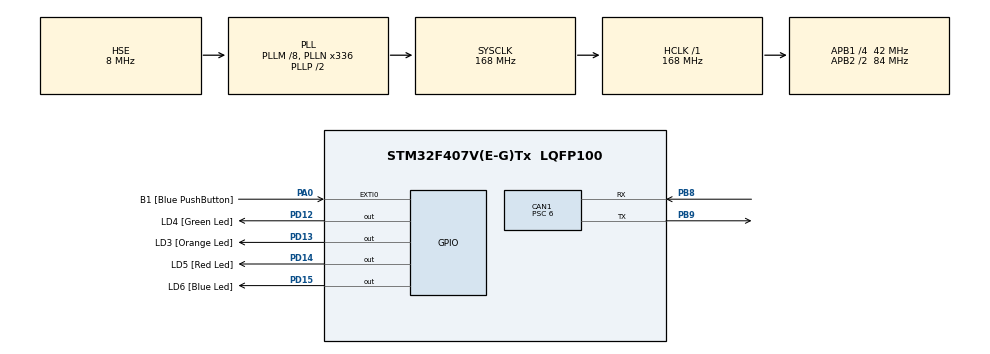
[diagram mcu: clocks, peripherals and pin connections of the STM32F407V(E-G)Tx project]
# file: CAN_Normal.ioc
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CAN1.ABOM=ENABLE
CAN1.BS1=CAN_BS1_11TQ
CAN1.BS2=CAN_BS2_2TQ
CAN1.CalculateBaudRate=500000
CAN1.CalculateTimeBit=2000
CAN1.CalculateTimeQuantum=142.85714285714286
CAN1.Mode=CAN_MODE_NORMAL
CAN1.NART=ENABLE
CAN1.Prescaler=6
Mcu.Family=STM32F4
Mcu.Name=STM32F407V(E-G)Tx
Mcu.Package=LQFP100
NVIC.CAN1_RX0_IRQn=true\:0\:0\:false\:false\:true\:true\:true\:true
NVIC.PriorityGroup=NVIC_PRIORITYGROUP_0
PA0-WKUP.GPIO_Label=B1 [Blue PushButton]
PA0-WKUP.GPIO_ModeDefaultEXTI=GPIO_MODE_EVT_RISING
PA0-WKUP.GPIO_PuPd=GPIO_NOPULL
PA0-WKUP.Signal=GPXTI0
PA13.GPIO_Label=SWDIO
PA13.Mode=Trace_Asynchronous_SW
PA13.Signal=SYS_JTMS-SWDIO
PA14.GPIO_Label=SWCLK
PA14.Mode=Trace_Asynchronous_SW
PA14.Signal=SYS_JTCK-SWCLK
PB3.GPIO_Label=SWO
PB3.Mode=Trace_Asynchronous_SW
PB3.Signal=SYS_JTDO-SWO
PB8.GPIO_PuPd=GPIO_NOPULL
PB8.Mode=CAN_Activate
PB8.Signal=CAN1_RX
PB9.Mode=CAN_Activate
PB9.Signal=CAN1_TX
PD12.GPIO_Label=LD4 [Green Led]
PD12.GPIO_PuPd=GPIO_NOPULL
PD12.GPIO_Speed=GPIO_SPEED_FREQ_LOW
PD12.Signal=GPIO_Output
PD13.GPIO_Label=LD3 [Orange Led]
PD13.GPIO_PuPd=GPIO_NOPULL
PD13.GPIO_Speed=GPIO_SPEED_FREQ_LOW
PD13.Signal=GPIO_Output
PD14.GPIO_Label=LD5 [Red Led]
PD14.GPIO_PuPd=GPIO_NOPULL
PD14.GPIO_Speed=GPIO_SPEED_FREQ_LOW
PD14.Signal=GPIO_Output
PD15.GPIO_Label=LD6 [Blue Led]
PD15.GPIO_PuPd=GPIO_NOPULL
PD15.GPIO_Speed=GPIO_SPEED_FREQ_LOW
PD15.Signal=GPIO_Output
PH0-OSC_IN.GPIO_Label=PH0-OSC_IN
PH0-OSC_IN.Mode=HSE-External-Oscillator
PH0-OSC_IN.Signal=RCC_OSC_IN
PH1-OSC_OUT.GPIO_Label=PH1-OSC_OUT
PH1-OSC_OUT.Mode=HSE-External-Oscillator
PH1-OSC_OUT.Signal=RCC_OSC_OUT
ProjectManager.HeapSize=0x200
ProjectManager.StackSize=0x400
ProjectManager.TargetToolchain=STM32CubeIDE
RCC.48MHZClocksFreq_Value=48000000
RCC.AHBFreq_Value=168000000
RCC.APB1CLKDivider=RCC_HCLK_DIV4
RCC.APB1Freq_Value=42000000
RCC.APB1TimFreq_Value=84000000
RCC.APB2CLKDivider=RCC_HCLK_DIV2
RCC.APB2Freq_Value=84000000
RCC.APB2TimFreq_Value=168000000
RCC.CortexFreq_Value=168000000
RCC.HCLKFreq_Value=168000000
RCC.HSE_VALUE=8000000
RCC.HSI_VALUE=16000000
RCC.LSE_VALUE=32768
RCC.PLLM=8
RCC.PLLN=336
RCC.PLLQ=7
RCC.PLLSourceVirtual=RCC_PLLSOURCE_HSE
RCC.SYSCLKFreq_VALUE=168000000
RCC.SYSCLKSource=RCC_SYSCLKSOURCE_PLLCLK
RCC.VCOOutputFreq_Value=336000000
board=STM32F407G-DISC1

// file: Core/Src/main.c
/* USER CODE BEGIN Header */
/**
  ******************************************************************************
  * @file           : main.c
  * @brief          : Main program body
  ******************************************************************************
  * @attention
  *
  * Copyright (c) 2023 STMicroelectronics.
  * All rights reserved.
  *
  * This software is licensed under terms that can be found in the LICENSE file
  * in the root directory of this software component.
  * If no LICENSE file comes with this software, it is provided AS-IS.
  *
  ******************************************************************************
  */
/* USER CODE END Header */
#include "main.h"

/* USER CODE BEGIN PTD */
typedef enum {
	NO_ERROR = 0x00,
	STUFF_ERROR = 0x01,
	FORM_ERROR = 0x02,
	ACK_ERROR = 0x03,
	BIT_REC_ERROR = 0x04,
	BIT_DOM_ERROR = 0x05,
	CRC_ERROR = 0x06,
	SW_ERROR = 0x07,
} CAN_ErrorCode_t;

/* USER CODE END PTD */

CAN_HandleTypeDef hcan1;

void SystemClock_Config(void);
static void MX_GPIO_Init(void);
static void MX_CAN1_Init(void);

/* USER CODE BEGIN 0 */
CAN_TxHeaderTypeDef TxHeader;
CAN_RxHeaderTypeDef RxHeader;

uint32_t TxMailbox;

uint8_t TxData[8];
uint8_t RxData[8];

uint32_t count = 0;

int32_t MotorSpeed_rpm;

uint32_t *const pESR = (uint32_t*) CAN_ESR;

CAN_ErrorCode_t CANErrorCode;
uint8_t CANRxErrorCnt;
uint8_t CANTxErrorCnt;

void CAN_RxFifo0MsgPendingCallback(CAN_HandleTypeDef *hcan){
	HAL_CAN_GetRxMessage(&hcan1, CAN_RX_FIFO0, &RxHeader, RxData);
	count++;

	HAL_GPIO_WritePin(LD4_GPIO_Port, LD4_Pin, GPIO_PIN_SET);
}

/* USER CODE END 0 */

int main(void)
{

  /* MCU Configuration--------------------------------------------------------*/

  /* Reset of all peripherals, Initializes the Flash interface and the Systick. */
  HAL_Init();

  /* Configure the system clock */
  SystemClock_Config();

  /* Initialize all configured peripherals */
  MX_GPIO_Init();
  MX_CAN1_Init();
  /* USER CODE BEGIN 2 */
  void (*pCAN_RxFifo0MsgPendingCallback)(CAN_HandleTypeDef *_hcan) = &CAN_RxFifo0MsgPendingCallback;

  if(HAL_CAN_RegisterCallback(&hcan1, HAL_CAN_RX_FIFO0_MSG_PENDING_CB_ID, pCAN_RxFifo0MsgPendingCallback) != HAL_OK){
	  Error_Handler();
  }
  HAL_CAN_Start(&hcan1);
  HAL_CAN_ActivateNotification(&hcan1, CAN_IT_RX_FIFO0_MSG_PENDING);

  TxHeader.DLC = 4;
  TxHeader.ExtId = 0x301;
  TxHeader.IDE = CAN_ID_EXT;
  TxHeader.RTR = CAN_RTR_DATA;
  TxHeader.StdId = 0;
  TxHeader.TransmitGlobalTime = DISABLE;

  TxData[0] = 0x00;
  TxData[1] = 0x00;
  TxData[2] = 0x1B;
  TxData[3] = 0x58;

  /* USER CODE END 2 */

  /* Infinite loop */
  /* USER CODE BEGIN WHILE */
  while (1)
  {
	  CANRxErrorCnt = (*pESR & CAN_ESR_REC) >> CAN_ESR_REC_Pos;
	  CANTxErrorCnt = (*pESR & CAN_ESR_TEC) >> CAN_ESR_TEC_Pos;
	  CANErrorCode = (*pESR & CAN_ESR_LEC) >> CAN_ESR_LEC_Pos;

	  HAL_GPIO_WritePin(LD4_GPIO_Port, LD4_Pin, GPIO_PIN_RESET);
	  MotorSpeed_rpm = (RxData[3]) | (RxData[2] << 8) | (RxData[1] << 16) | (RxData[0] << 24);

	  HAL_CAN_AddTxMessage(&hcan1, &TxHeader, TxData, &TxMailbox);

	  HAL_Delay(10);
    /* USER CODE END WHILE */

  }
}

void SystemClock_Config(void)
{
  RCC_OscInitTypeDef RCC_OscInitStruct = {0};
  RCC_ClkInitTypeDef RCC_ClkInitStruct = {0};

  /** Configure the main internal regulator output voltage
  */
  __HAL_RCC_PWR_CLK_ENABLE();
  __HAL_PWR_VOLTAGESCALING_CONFIG(PWR_REGULATOR_VOLTAGE_SCALE1);

  /** Initializes the RCC Oscillators according to the specified parameters
  * in the RCC_OscInitTypeDef structure.
  */
  RCC_OscInitStruct.OscillatorType = RCC_OSCILLATORTYPE_HSE;
  RCC_OscInitStruct.HSEState = RCC_HSE_ON;
  RCC_OscInitStruct.PLL.PLLState = RCC_PLL_ON;
  RCC_OscInitStruct.PLL.PLLSource = RCC_PLLSOURCE_HSE;
  RCC_OscInitStruct.PLL.PLLM = 8;
  RCC_OscInitStruct.PLL.PLLN = 336;
  RCC_OscInitStruct.PLL.PLLP = RCC_PLLP_DIV2;
  RCC_OscInitStruct.PLL.PLLQ = 7;
  if (HAL_RCC_OscConfig(&RCC_OscInitStruct) != HAL_OK)
  {
    Error_Handler();
  }

  /** Initializes the CPU, AHB and APB buses clocks
  */
  RCC_ClkInitStruct.ClockType = RCC_CLOCKTYPE_HCLK|RCC_CLOCKTYPE_SYSCLK
                              |RCC_CLOCKTYPE_PCLK1|RCC_CLOCKTYPE_PCLK2;
  RCC_ClkInitStruct.SYSCLKSource = RCC_SYSCLKSOURCE_PLLCLK;
  RCC_ClkInitStruct.AHBCLKDivider = RCC_SYSCLK_DIV1;
  RCC_ClkInitStruct.APB1CLKDivider = RCC_HCLK_DIV4;
  RCC_ClkInitStruct.APB2CLKDivider = RCC_HCLK_DIV2;

  if (HAL_RCC_ClockConfig(&RCC_ClkInitStruct, FLASH_LATENCY_5) != HAL_OK)
  {
    Error_Handler();
  }
}

static void MX_CAN1_Init(void)
{

  hcan1.Instance = CAN1;
  hcan1.Init.Prescaler = 6;
  hcan1.Init.Mode = CAN_MODE_NORMAL;
  hcan1.Init.SyncJumpWidth = CAN_SJW_1TQ;
  hcan1.Init.TimeSeg1 = CAN_BS1_11TQ;
  hcan1.Init.TimeSeg2 = CAN_BS2_2TQ;
  hcan1.Init.TimeTriggeredMode = DISABLE;
  hcan1.Init.AutoBusOff = ENABLE;
  hcan1.Init.AutoWakeUp = DISABLE;
  hcan1.Init.AutoRetransmission = ENABLE;
  hcan1.Init.ReceiveFifoLocked = DISABLE;
  hcan1.Init.TransmitFifoPriority = DISABLE;
  if (HAL_CAN_Init(&hcan1) != HAL_OK)
  {
    Error_Handler();
  }

}

static void MX_GPIO_Init(void)
{
  GPIO_InitTypeDef GPIO_InitStruct = {0};

  /* GPIO Ports Clock Enable */
  __HAL_RCC_GPIOH_CLK_ENABLE();
  __HAL_RCC_GPIOA_CLK_ENABLE();
  __HAL_RCC_GPIOD_CLK_ENABLE();
  __HAL_RCC_GPIOB_CLK_ENABLE();

  /*Configure GPIO pin Output Level */
  HAL_GPIO_WritePin(GPIOD, LD4_Pin|LD3_Pin|LD5_Pin|LD6_Pin, GPIO_PIN_RESET);

  /*Configure GPIO pin : B1_Pin */
  GPIO_InitStruct.Pin = B1_Pin;
  GPIO_InitStruct.Mode = GPIO_MODE_EVT_RISING;
  GPIO_InitStruct.Pull = GPIO_NOPULL;
  HAL_GPIO_Init(B1_GPIO_Port, &GPIO_InitStruct);

  /*Configure GPIO pins : LD4_Pin LD3_Pin LD5_Pin LD6_Pin */
  GPIO_InitStruct.Pin = LD4_Pin|LD3_Pin|LD5_Pin|LD6_Pin;
  GPIO_InitStruct.Mode = GPIO_MODE_OUTPUT_PP;
  GPIO_InitStruct.Pull = GPIO_NOPULL;
  GPIO_InitStruct.Speed = GPIO_SPEED_FREQ_LOW;
  HAL_GPIO_Init(GPIOD, &GPIO_InitStruct);

}

void Error_Handler(void)
{
  __disable_irq();
  while (1)
  {
  }
}
